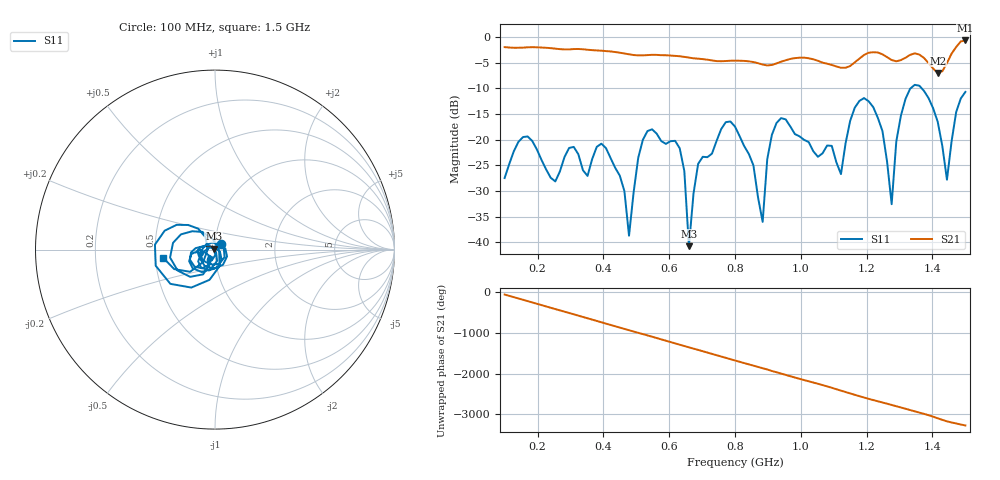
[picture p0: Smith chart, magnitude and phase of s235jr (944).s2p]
! NanoVNA-App
! Date: 2025-09-25 15:11:31
! Start: 100MHz Stop: 1,5GHz Points: 101
! S-Parameter data: F S11 S21 S12 S22
# Hz S RI R 50
!  Frequency  S11_Real  S11_Imag  S21_Real  S21_Imag  S12_Real  S12_Imag  S22_Real  S22_Imag
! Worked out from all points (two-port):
!   101 points, 100 MHz to 1.5 GHz, reference 50 ohm
!   highest |S21| = -0.66 dB at 1.5 GHz (marker M1); lowest = -7.0 dB at 1.416 GHz (marker M2)
!   |S21| within 3 dB of the highest: start of sweep to 617.6 MHz; 1.189 GHz to 1.256 GHz (67 MHz wide, 5.48 % of centre) (the widest 2 of 4)
!   lowest |S11| = -40.7 dB at 660 MHz (marker M3), VSWR 1.02, Z = 49.3 + j0.58 ohm
!   |S11| at or under -10 dB: start of sweep to 1.333 GHz; 1.367 GHz to end of sweep
!   S12 and S22 are empty: the file has one direction only
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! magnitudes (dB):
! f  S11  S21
! 100 MHz  -27.5  -2.0
! 170 MHz  -19.4  -2.0
! 338 MHz  -25.9  -2.4
! 408 MHz  -21.6  -2.7
! 478 MHz  -38.7  -3.4
! 520 MHz  -20.0  -3.6
! 576 MHz  -20.3  -3.5
! 632 MHz  -21.7  -3.7
! 660 MHz  -40.7  -4.0
! 688 MHz  -24.7  -4.2
! 800 MHz  -17.4  -4.6
! 884 MHz  -36.0  -5.4
! 926 MHz  -16.8  -5.1
! 1.038 GHz  -22.3  -4.3
! 1.122 GHz  -26.7  -6.0
! 1.192 GHz  -11.9  -3.5
! 1.248 GHz  -18.3  -3.4
! 1.276 GHz  -32.6  -4.5
! 1.332 GHz  -10.1  -3.5
! 1.416 GHz  -16.5  -7.0
! 1.444 GHz  -27.8  -5.0
! 1.5 GHz  -10.7  -0.7
